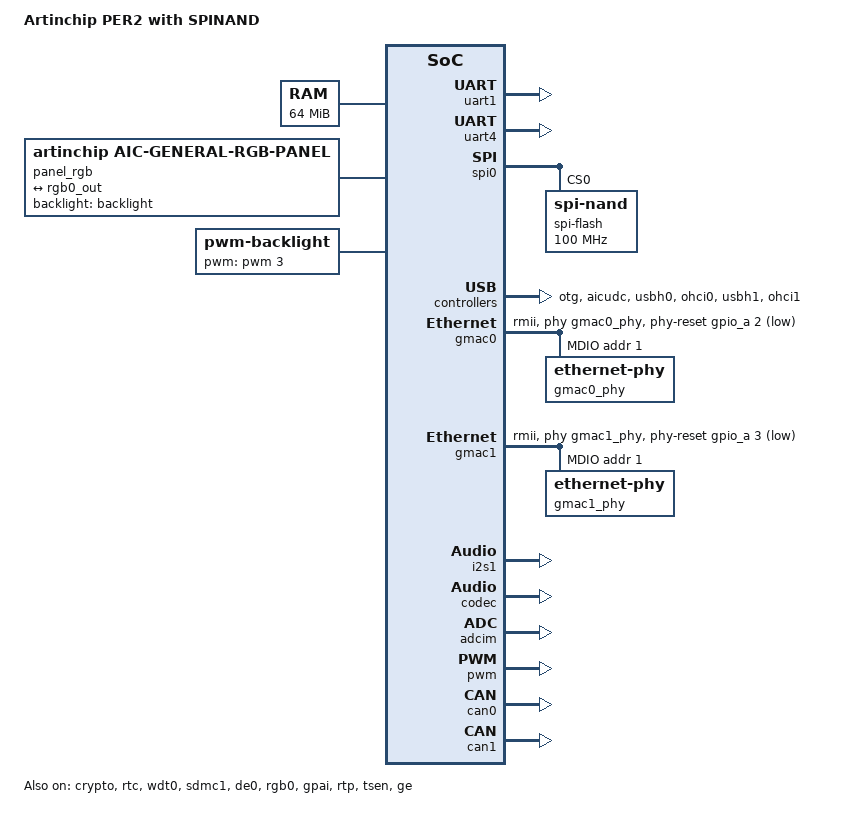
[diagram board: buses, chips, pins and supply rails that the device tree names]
/*
 * Copyright (C) 2020-2022 ArtInChip Technology Co., Ltd.
 *
 * This file is dual-licensed: you can use it either under the terms
 * of the GPL or the X11 license, at your option. Note that this dual
 * licensing only applies to this file, and not this project as a
 * whole.
 *
 *  a) This file is free software; you can redistribute it and/or
 *     modify it under the terms of the GNU General Public License as
 *     published by the Free Software Foundation; either version 2 of the
 *     License, or (at your option) any later version.
 *
 *     This file is distributed in the hope that it will be useful,
 *     but WITHOUT ANY WARRANTY; without even the implied warranty of
 *     MERCHANTABILITY or FITNESS FOR A PARTICULAR PURPOSE.  See the
 *     GNU General Public License for more details.
 *
 * Or, alternatively,
 *
 *  b) Permission is hereby granted, free of charge, to any person
 *     obtaining a copy of this software and associated documentation
 *     files (the "Software"), to deal in the Software without
 *     restriction, including without limitation the rights to use,
 *     copy, modify, merge, publish, distribute, sublicense, and/or
 *     sell copies of the Software, and to permit persons to whom the
 *     Software is furnished to do so, subject to the following
 *     conditions:
 *
 *     The above copyright notice and this permission notice shall be
 *     included in all copies or substantial portions of the Software.
 *
 *     THE SOFTWARE IS PROVIDED "AS IS", WITHOUT WARRANTY OF ANY KIND,
 *     EXPRESS OR IMPLIED, INCLUDING BUT NOT LIMITED TO THE WARRANTIES
 *     OF MERCHANTABILITY, FITNESS FOR A PARTICULAR PURPOSE AND
 *     NONINFRINGEMENT. IN NO EVENT SHALL THE AUTHORS OR COPYRIGHT
 *     HOLDERS BE LIABLE FOR ANY CLAIM, DAMAGES OR OTHER LIABILITY,
 *     WHETHER IN AN ACTION OF CONTRACT, TORT OR OTHERWISE, ARISING
 *     FROM, OUT OF OR IN CONNECTION WITH THE SOFTWARE OR THE USE OR
 *     OTHER DEALINGS IN THE SOFTWARE.
 */

/dts-v1/;
#include "d211.dtsi"
#include "d211-ddr2-512Mb.dtsi"
#include "d211-ddr.dtsi"
#include "d211-pinctrl.dtsi"
#include <dt-bindings/display/artinchip,aic-disp.h>
#include <dt-bindings/gpio/gpio.h>
#include <dt-bindings/pwm/pwm.h>

/ {
	model = "Artinchip PER2 with SPINAND";
	compatible = "artinchip,d211";
	package = "QFN128";

	aliases {
		gpio0 = &gpio_a;
		gpio1 = &gpio_b;
		gpio2 = &gpio_c;
		gpio3 = &gpio_d;
		gpio4 = &gpio_e;
		gpio5 = &gpio_f;
		pinctrl = &pinctrl;
		serial0 = &uart0;
		serial1 = &uart1;
		serial2 = &uart2;
		serial3 = &uart3;
		serial4 = &uart4;
		serial5 = &uart5;
		serial6 = &uart6;
		serial7 = &uart7;
		i2c0 = &i2c0;
		i2c1 = &i2c1;
		i2c2 = &i2c2;
		i2c3 = &i2c3;
		can0 = &can0;
		can1 = &can1;
		spi0 = &spi0;
		spi1 = &spi1;
		gmac0 = &gmac0;
		gmac1 = &gmac1;
		rtc = &rtc;
		wdt0 = &wdt0;
		fb0 = &fb0;
		de0 = &de0;
		lvds0 = &lvds0;
		rgb0 = &rgb0;
		dsi0 = &dsi0;
		dvp0 = &dvp0;
		cir = &cir;
		adcim = &adcim;
		gpai = &gpai;
		rtp = &rtp;
		tsen = &tsen;
		pwm = &pwm;
		sdmc0 = &sdmc0;
		sdmc1 = &sdmc1;
		sdmc2 = &sdmc2;
	};

	chosen {
		stdout-path = "serial1:115200n8";
		bootargs = "rdinit=/init earlycon=sbi loglevel=7";
		reset-after-fw-burn;
	};
	config {
		/*
		 * The "aic,upgmode-gpio" is used to define upgrade-mode
		 * pin to enter USB upgrade mode.
		 * Why don't use the naming format "-gpios" as other gpio?
		 * Because this pin maybe reuse some other device's pin,
		 * e.g. UART. If use the "-gpios" to name it, it will cause
		 * PINMUX conflict error during pinmux check.
		 */
		aic,upgmode-gpio = <&gpio_a 0 GPIO_ACTIVE_LOW>;
	};

	memory@40000000 {
		device_type = "memory";
		reg = <0x0 0x40000000 0x0 0x4000000>;
	};

	/* Reserved 1M memory for aic ramdump
	   When enable CONFIG_AIC_RAMDUMP in linux kernel, also must enable below node.
	*/
	reserved-memory {
		#address-cells = <2>;
		#size-cells = <2>;
		ranges;

	#if 0
		aic_ramdump_buf {
			compatible = "artinchip,aic-ramdump";
			no-map;
			reg = <0x43f00000 0x100000>;
		};
	#endif
		};
#if 0
	syspower {
		compatible = "artinchip,aic-power";
		power-gpios = <&gpio_e 13 GPIO_ACTIVE_HIGH>;
	};
#endif
	panel_rgb {
		compatible = "artinchip,aic-general-rgb-panel";
		status = "okay";

		rgb-mode = <PRGB>;
		interface-format = <PRGB_24BIT>;
		clock-phase = <DEGREE_0>;
		data-order = <RGB>;
		backlight = <&backlight>;

		port {
			panel_rgb_in: endpoint {
				remote-endpoint = <&rgb0_out>;
			};
		};

		display-timings {
			native-mode = <&timing0>;
			timing0: 1024x600 {
				clock-frequency = <52000000>;
				hactive = <1024>;
				vactive = <600>;
				hback-porch = <160>;
				hfront-porch = <160>;
				hsync-len = <20>;
				vback-porch = <12>;
				vfront-porch = <20>;
				vsync-len = <3>;
				de-active = <1>;
				pixelclk-active = <1>;
			};
		};
	};

	backlight: backlight {
		compatible = "pwm-backlight";
		/* pwm node name; pwm device No.; period_ns; pwm_polarity */
		pwms = <&pwm 3 1000000 0>;
		brightness-levels = <0 10 20 30 40 50 60 70 80 90 100>;
		default-brightness-level = <8>;
		status = "okay";
	};

	soundCard {
		compatible = "artinchip,aic-ac107";
		aic,codec-chip = <&ac107>;
		aic,i2s-controller = <&i2s1>;
		status = "okay";
	};
};

&crypto {
	status = "okay";
};

&cmu {
	pll-int0 = <600000000>;
	pll-int1 = <1200000000>;
	pll-frac1 = <491520000>;
	pll-frac2 = <840000000>;
	axi0 = <240000000>;
	ahb0 = <240000000>;
	apb0 = <100000000>;
	apb1 = <24000000>;
	clk-out0 = <25000000>;
	clk-out1 = <25000000>;
	clk-out2 = <25000000>;
	clk-out3 = <25000000>;
	// clk-out0-enable;
	// clk-out1-enable;
	// clk-out2-enable;
	// clk-out3-enable;
};

&rtc {
	aic,alarm-io-output;
	status = "okay";
};

&wdt0 {
	timeout-sec = <16>;
	status = "okay";
};

&uart0 {
	pinctrl-names = "default";
	pinctrl-0 = <&uart0_pins_a>;
	status = "disabled";
};

&uart1 {
	pinctrl-names = "default";
	pinctrl-0 = <&uart1_pins_a>;
	status = "okay";
};

&uart2 {
	pinctrl-names = "default";
	pinctrl-0 = <&uart2_pins_a>;
	status = "disabled";
};

&uart3 {
	pinctrl-names = "default";
	pinctrl-0 = <&uart3_pins_c>, <&uart3_rts_pins_b>;
	linux,rs485-enabled-at-boot-time;
	status = "disabled";
};

&uart4 {
	pinctrl-names = "default";
	pinctrl-0 = <&uart4_pins_b>;
	linux,rs485-enabled-at-boot-time;
	aic,rs485-compact-io-mode;
	status = "okay";
};

&uart5 {
	pinctrl-names = "default";
	pinctrl-0 = <&uart5_pins_a>;
	status = "disabled";
};

&uart6 {
	pinctrl-names = "default";
	pinctrl-0 = <&uart6_pins_a>;
	status = "disabled";
};

&uart7 {
	pinctrl-names = "default";
	pinctrl-0 = <&uart7_pins_a>;
	status = "disabled";
};

&i2c0 {
	pinctrl-names = "default";
	pinctrl-0 = <&i2c0_pins_b>;
	status = "disabled";
};

&i2c1 {
	pinctrl-names = "default";
	pinctrl-0 = <&i2c1_pins_a>;
	status = "disabled";
};

&i2c2 {
	pinctrl-names = "default";
	pinctrl-0 = <&i2c2_pins_c>;
	status = "disabled";
	ac107: ac107@36 {
		compatible = "ac107_0";
		reg = <0x36>;
	};
};

&i2c3 {
	pinctrl-names = "default";
	pinctrl-0 = <&i2c3_pins_b>;
	status = "disabled";
};

&spi0 {
	pinctrl-names = "default";
	pinctrl-0 = <&spi0_pins_a>;
	status = "okay";
	spi-max-frequency = <100000000>;
	spi-flash@0 {
		#address-cells = <1>;
		#size-cells = <1>;
		compatible = "spi-nand";
		spi-max-frequency = <100000000>;
		spi-tx-bus-width = <4>;
		spi-rx-bus-width = <4>;
		reg = <0>;
		// aic,encrypt;
		// aic,spi-id = <0>;
		status = "okay";
	};
};

&spi1 {
	pinctrl-names = "default";
	pinctrl-0 = <&spi1_pins_a>;
	status = "disabled";
};

&spi2 {
	pinctrl-names = "default";
	pinctrl-0 = <&spi2_pins_a>;
	status = "disabled";
};

&spi3 {
	pinctrl-names = "default";
	pinctrl-0 = <&spi3_pins_a>;
	status = "disabled";
};

&sdmc0 {
	pinctrl-names = "default";
	pinctrl-0 = <&sdmc0_pins>;
	bus-width = <8>;
	//mmc-hs200-1_8v;
	status = "disabled";
};

&sdmc1 {
	pinctrl-names = "default";
	pinctrl-0 = <&sdmc1_pins>;
	bus-width = <4>;
	cap-sd-highspeed;
	status = "okay";
};

&sdmc2 {
	pinctrl-names = "default";
	pinctrl-0 = <&sdmc2_pins>;
	status = "disabled";
};

/* case 1: USB0 = OTG Enable */
#if 1
&otg {
	otg-mode = "device";    /* auto/host/device */
	id-gpios = <&gpio_f 15 GPIO_ACTIVE_HIGH>;
	// vbus-en-gpios = <&gpio_a 7 GPIO_ACTIVE_HIGH>;
	status = "okay";
};

&aicudc {
	pinctrl-names = "default";
	pinctrl-0 = <&usb0_pins_a>;
	status = "okay";
};

&usbh0 {
	status = "okay";
};

&ohci0 {
	status = "okay";
};

/* case 2: USB0 = OTG Disable */
#else

&otg {
	status = "disabled";
};

/* case 2.1: USB0 = Device */
#if 1
&aicudc {
	pinctrl-names = "default";
	pinctrl-0 = <&usb0_pins_a>;
	status = "okay";
};

&usbh0 {
	status = "disabled";
};
&ohci0 {
	status = "disabled";
};

/* case 2.2: USB0 = Host */
#else
&aicudc {
	aic,only-uboot-use;
	status = "okay";
};

&usbh0 {
	pinctrl-names = "default";
	pinctrl-0 = <&usb0_pins_a>;
	artinchip,sw_usb_phy0;
	// vbus-en-gpios = <&gpio_a 7 GPIO_ACTIVE_HIGH>;
	status = "okay";
};
&ohci0 {
	status = "okay";
};
#endif
#endif

&usbh1 {
	pinctrl-names = "default";
	pinctrl-0 = <&usb1_pins_a>;
	status = "okay";
};

&ohci1 {
	status = "okay";
};

&gmac0 {
	pinctrl-names = "default";
	pinctrl-0 = <&gmac0_pins>;
	phy-handle = <&gmac0_phy>;
	phy-reset-gpios = <&gpio_a 2 GPIO_ACTIVE_HIGH>;
	phy-addr = <1>;
	phy-mode = "rmii";
	max-speed = <100>;
	aic,use_extclk;

	status = "okay";

	gmac0_mdio: mdio {
		compatible = "aicmac-mdio";
		#address-cells = <1>;
		#size-cells = <0>;
		gmac0_phy: ethernet-phy@1 {
			reg = <1>;
		};
	};
};

&gmac1 {
	pinctrl-names = "default";
	pinctrl-0 = <&gmac1_pins>;
	phy-handle = <&gmac1_phy>;
	phy-reset-gpios = <&gpio_a 3 GPIO_ACTIVE_HIGH>;
	phy-addr = <1>;
	phy-mode = "rmii";
	max-speed = <100>;
	aic,use_extclk;

	status = "okay";

	gmac1_mdio: mdio {
		compatible = "aicmac-mdio";
		#address-cells = <1>;
		#size-cells = <0>;
		gmac1_phy: ethernet-phy@1 {
			reg = <1>;
		};
	};
};

&i2s0 {
	pinctrl-names = "default";
	pinctrl-0 = <&i2s0_clk_pins>;
	status = "disabled";
};

&i2s1 {
	pinctrl-names = "default";
	pinctrl-0 = <&i2s1_clk_pins>, <&i2s1_mclk_pins>, <&i2s1_din_pins_b>;
	status = "okay";
};

&codec {
	pinctrl-names = "default";
	pinctrl-0 = <&amic_pins>, <&dmic_pins_a>, <&spk_pins_b>;
	pa-gpios = <&gpio_f 13 GPIO_ACTIVE_LOW>;
	status = "okay";
};

/* The data flow:
 * fb ---> de ----> lvds ----> panel
 *              |-> rgb  ->|
 *              '-> dsi  ->'
 */

&fb0 {
	artinchip,uboot-logo-on=<1>;
	port {
		fb0_out: endpoint {
			remote-endpoint = <&de0_in>;
		};
	};
};

&de0 {
	status = "okay";

	port@0 {
		reg = <0>;
		de0_in: endpoint {
			remote-endpoint = <&fb0_out>;
		};
	};

	port@1 {
		reg = <1>;
		de0_out: endpoint {
			remote-endpoint = <&rgb0_in>;
		};
	};
};

&rgb0 {
	pinctrl-names = "default";
	pinctrl-0 = <&lcd_pins>;
	status = "okay";

	port@0 {
		reg = <0>;
		rgb0_in: endpoint {
			remote-endpoint = <&de0_out>;
		};
	};

	port@1 {
		reg = <1>;
		rgb0_out: endpoint {
			remote-endpoint = <&panel_rgb_in>;
		};
	};
};

&cir {
	pinctrl-names = "default";
	pinctrl-0 = <&cir_pins_a>;
	rx-level = <1>;
	linux,rc-map-name = "rc-empty";
	status = "disabled";
};

&adcim {
	status = "okay";
};

&gpai {
	status = "okay";
	pinctrl-names = "default";
	pinctrl-0 = <&gpai7_pins>;

	gpai0 {
		aic,sample-period-ms = <10>;
		aic,high-level-thd = <1830>;
		aic,low-level-thd = <1800>;
		status = "disabled";
	};

	gpai1 {
		status = "disabled";
	};

	gpai2 {
		status = "disabled";
	};

	gpai3 {
		status = "disabled";
	};

	gpai4 {
		status = "disabled";
	};

	gpai5 {
		status = "disabled";
	};

	gpai6 {
		status = "disabled";
	};

	gpai7 {
		status = "okay";
	};
};

&rtp {
	aic,max-pressure = <800>;
	aic,x-plate = <235>;
	pinctrl-names = "default";
	pinctrl-0 = <&rtp_pins>;
	status = "okay";
};

&tsen {
	status = "okay";

	tsen0 {
		status = "okay";
	};

	tsen1 {
		status = "okay";
	};
};

&pwm {
	status = "okay";
	pinctrl-names = "default";
	pinctrl-0 = <&pwm3_pins_a_1>;
	/* mode: up-count, down-count, up-down-count
	   action: none, low, high, inverse */
	pwm0 {
		aic,mode = "up-count";
		aic,tb-clk-rate = <24000000>;
		aic,rise-edge-delay = <10>;
		aic,fall-edge-delay = <10>;
		/*            CBD,    CBU,    CAD,    CAU,    PRD,   ZRO */
		aic,action0 = "none", "none", "none", "low", "none", "high";
		aic,action1 = "none", "none", "none", "high", "none", "low";
		status = "disabled";
	};

	pwm1 {
		aic,mode = "down-count";
		aic,tb-clk-rate = <24000000>;
		aic,rise-edge-delay = <10>;
		aic,fall-edge-delay = <10>;
		/*            CBD,    CBU,    CAD,    CAU,    PRD,   ZRO */
		aic,action0 = "none", "none", "none", "low", "none", "high";
		aic,action1 = "none", "none", "none", "high", "none", "low";
		status = "disabled";
	};

	pwm2 {
		aic,tb-clk-rate = <24000000>;
		aic,action0 = "none", "none", "none", "low", "none", "high";
		aic,action1 = "none", "none", "none", "high", "none", "low";
		aic,rise-edge-delay = <10>;
		aic,fall-edge-delay = <10>;
		status = "disabled";
	};

	pwm3 {
		aic,mode = "up-count";
		aic,tb-clk-rate = <24000000>;
		aic,action0 = "none", "none", "none", "none", "none", "none";
		aic,action1 = "none", "none", "none", "low", "high", "none";
		aic,rise-edge-delay = <10>;
		aic,fall-edge-delay = <10>;
		status = "okay";
	};
};

&can0 {
       pinctrl-names = "default";
       pinctrl-0 = <&can0_pins_a>;
       status = "okay";
};

&can1 {
       pinctrl-names = "default";
       pinctrl-0 = <&can1_pins_a>;
       status = "okay";
};

&ge {
	status = "okay";
};
